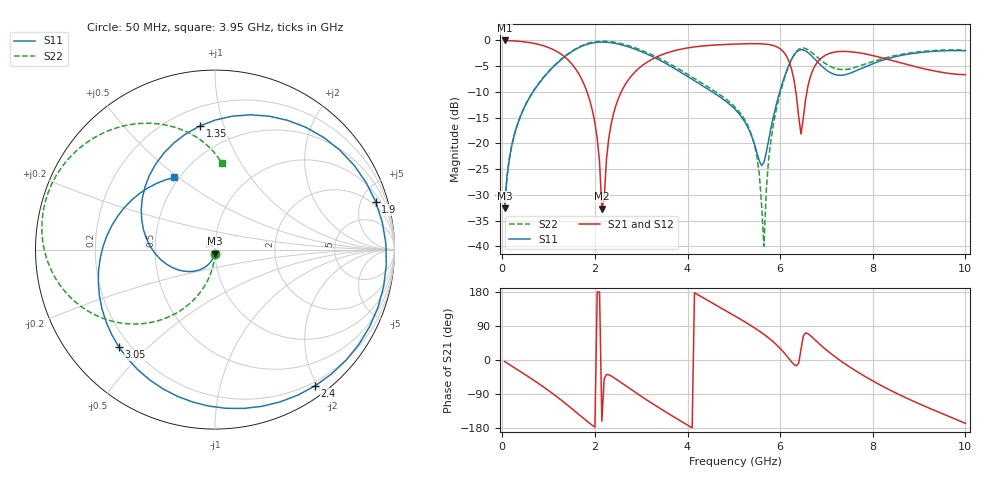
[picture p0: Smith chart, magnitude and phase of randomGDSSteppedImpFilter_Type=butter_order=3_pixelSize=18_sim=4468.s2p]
! freq	dB(S11)	phase(S11)	dB(S12)	phase(S12)
!  dB(S21)	phase(S21)	dB(S22)	phase(S22)
!S-par simulation data
#  GHz  S  DB  R 50
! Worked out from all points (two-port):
!   200 points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, 50 MHz to 10 GHz, reference 50 ohm
!   highest |S21| = -0.01 dB at 50 MHz (marker M1); lowest = -32.7 dB at 2.15 GHz (marker M2)
!   |S21| within 3 dB of the highest: start of sweep to 1.321 GHz; 3.384 GHz to 6.132 GHz (2.748 GHz wide, 57.8 % of centre) (the widest 2 of 3)
!   lowest |S11| = -32.6 dB at 50 MHz (marker M3), VSWR 1.05, Z = 49.7 - j2.32 ohm
!   |S11| at or under -10 dB: start of sweep to 664.3 MHz; 4.535 GHz to 5.991 GHz (1.456 GHz wide, 27.7 % of centre)
!   |S22| runs from -40.0 to -0.2 dB; largest |S21 - S12| = 0
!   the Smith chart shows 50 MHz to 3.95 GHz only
!   S11 on the Smith chart (normalised r, x): 50 MHz: 0.99, -0.05; 1.35 GHz: 0.31, +0.84; 1.9 GHz: 1.57, +6.52; 2.4 GHz: 0.15, -1.97; 3.05 GHz: 0.16, -0.41; 3.95 GHz: 0.47, +0.48
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0.05  -32.61 -95.9  -0.01 -3.9  -0.01 -3.9  -32.56 -91.5
0.4  -14.57 -139.0  -0.20 -31.1  -0.20 -31.1  -14.51 -104.3
0.95  -6.60 151.5  -1.22 -76.4  -1.22 -76.4  -6.52 -125.8
1.35  -3.16 96.8  -3.22 -113.3  -3.22 -113.3  -3.06 -145.6
1.75  -1.02 38.6  -8.21 -153.5  -8.21 -153.5  -0.89 -169.8
1.9  -0.59 16.5  -11.99 -168.3  -11.99 -168.3  -0.45 -179.5
2.15  -0.32 -19.5  -32.69 -161.3  -32.69 -161.3  -0.15 164.4
2.4  -0.52 -53.7  -14.29 -45.8  -14.29 -45.8  -0.32 149.4
3.05  -2.36 -134.6  -4.69 -100.0  -4.69 -100.0  -2.07 116.7
3.4  -3.85 -175.6  -2.95 -127.3  -2.95 -127.3  -3.52 102.7
3.95  -6.71 119.6  -1.54 -168.2  -1.54 -168.2  -6.30 85.6
5.05  -13.60 -7.3  -0.71 114.3  -0.71 114.3  -13.18 63.3
5.5  -21.84 -28.8  -0.64 80.4  -0.64 80.4  -22.68 50.6
5.65  -23.71 15.1  -0.69 67.6  -0.69 67.6  -39.96 139.6
5.75  -19.41 36.6  -0.79 58.4  -0.79 58.4  -23.23 -151.4
6  -9.72 22.3  -1.62 30.7  -1.62 30.7  -10.30 -168.4
6.25  -3.60 -24.2  -5.71 -5.5  -5.71 -5.5  -3.60 158.6
6.45  -1.80 -74.8  -18.19 28.3  -18.19 28.3  -1.49 123.5
6.7  -3.18 -133.9  -5.89 59.3  -5.89 59.3  -2.48 90.1
7.4  -6.67 91.8  -2.13 -10.2  -2.13 -10.2  -5.65 65.9
8.35  -3.48 -13.5  -3.75 -78.0  -3.75 -78.0  -3.22 34.6
10  -2.01 -102.0  -6.65 -167.1  -6.65 -167.1  -1.89 -49.4
